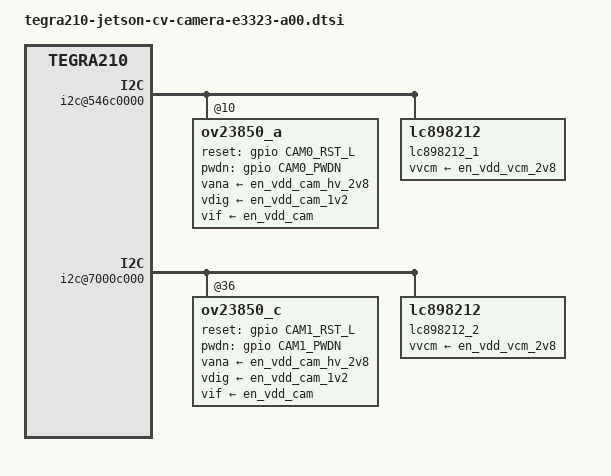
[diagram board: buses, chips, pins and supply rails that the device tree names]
/*
 * Copyright (c) 2015, NVIDIA CORPORATION.  All rights reserved.
 *
 * This program is free software; you can redistribute it and/or modify
 * it under the terms of the GNU General Public License as published by
 * the Free Software Foundation; either version 2 of the License, or
 * (at your option) any later version.
 *
 * This program is distributed in the hope that it will be useful, but WITHOUT
 * ANY WARRANTY; without even the implied warranty of MERCHANTABILITY or
 * FITNESS FOR A PARTICULAR PURPOSE.  See the GNU General Public License for
 * more details.
 *
 * You should have received a copy of the GNU General Public License
 * along with this program.  If not, see <http://www.gnu.org/licenses/>.
 */

#include <tegra210-platforms/tegra210-camera-e3323-a00.dtsi>

#define CAM0_RST_L	TEGRA_GPIO(S, 4)
#define CAM0_PWDN		TEGRA_GPIO(S, 7)
#define CAM1_RST_L	TEGRA_GPIO(S, 5)
#define CAM1_PWDN		TEGRA_GPIO(T, 0)
/* CAM2_RST  TCA9539 - P10 */
/* CAM2_PWDN  TCA9539 - P07 */
/* CAM_AF_PWDN  TCA9539 - P13 */

/* camera control gpio definitions */

/ {
	host1x {
		i2c@546c0000 {
			ov23850_a@10 {
				/* Define any required hw resources needed by driver */
				/* ie. clocks, io pins, power sources */
				mclk = "cam_mclk1";
				reset-gpios = <&gpio CAM0_RST_L GPIO_ACTIVE_HIGH>;   //also for VCM_2V8 en
				pwdn-gpios = <&gpio CAM0_PWDN GPIO_ACTIVE_HIGH>;
				vana-supply = <&en_vdd_cam_hv_2v8>;
				vdig-supply = <&en_vdd_cam_1v2>;
				vif-supply = <&en_vdd_cam>;
				vvcm-suply = <&en_vdd_vcm_2v8>;
			};
			lc898212_1: lc898212@6_0072 {
				vvcm-supply = <&en_vdd_vcm_2v8>;
			};
		};
	};

	i2c@7000c000 {
		ov23850_c@36 {
			/* Define any required hw resources needed by driver */
			/* ie. clocks, io pins, power sources */
			mclk = "cam_mclk1";
			reset-gpios = <&gpio CAM1_RST_L GPIO_ACTIVE_HIGH>;   //also for VCM_2V8 en
			pwdn-gpios = <&gpio CAM1_PWDN GPIO_ACTIVE_HIGH>;
			vana-supply = <&en_vdd_cam_hv_2v8>;
			vdig-supply = <&en_vdd_cam_1v2>;
			vif-supply = <&en_vdd_cam>;
			vvcm-suply = <&en_vdd_vcm_2v8>;
		};
		lc898212_2: lc898212@0_0072 {
			vvcm-supply = <&en_vdd_vcm_2v8>;
		};
	};

	gpio: gpio@6000d000 {
		camera-control {
			gpio-output-low = <
				CAM0_RST_L
				CAM0_PWDN
				CAM1_RST_L
				CAM1_PWDN
				>;
		};
	};
};
